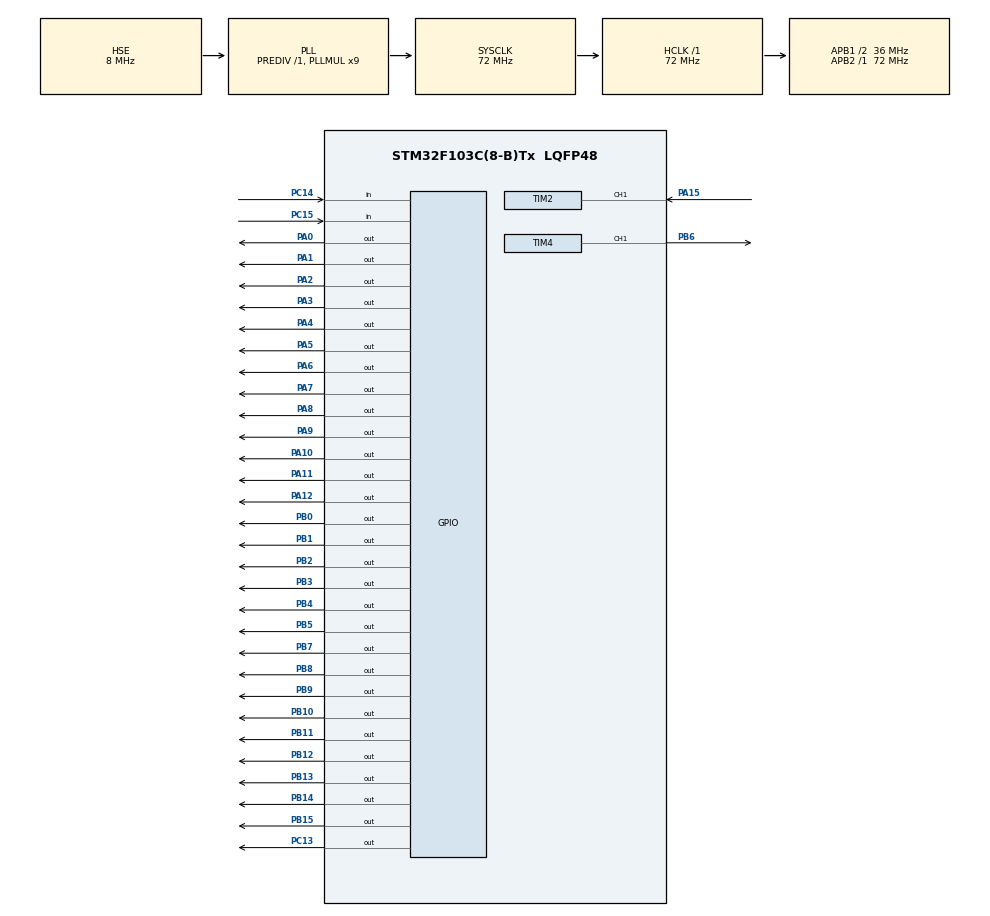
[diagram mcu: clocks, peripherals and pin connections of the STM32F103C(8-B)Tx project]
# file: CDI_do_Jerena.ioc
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Mcu.Family=STM32F1
Mcu.Name=STM32F103C(8-B)Tx
Mcu.Package=LQFP48
NVIC.FLASH_IRQn=true\:0\:0\:false\:false\:true\:true\:true
NVIC.PVD_IRQn=true\:0\:0\:false\:false\:true\:true\:true
NVIC.PriorityGroup=NVIC_PRIORITYGROUP_4
NVIC.RCC_IRQn=true\:0\:0\:false\:false\:true\:true\:false
NVIC.TIM2_IRQn=true\:0\:0\:false\:false\:true\:true\:true
NVIC.TIM3_IRQn=true\:0\:0\:false\:false\:true\:true\:true
NVIC.TIM4_IRQn=true\:0\:0\:false\:false\:true\:true\:true
PA0-WKUP.Signal=GPIO_Output
PA1.Signal=GPIO_Output
PA10.Signal=GPIO_Output
PA11.Signal=GPIO_Output
PA12.Signal=GPIO_Output
PA13.Mode=Serial_Wire
PA13.Signal=SYS_JTMS-SWDIO
PA14.Mode=Serial_Wire
PA14.Signal=SYS_JTCK-SWCLK
PA15.Signal=S_TIM2_CH1_ETR
PA2.GPIO_Speed=GPIO_SPEED_FREQ_HIGH
PA2.Signal=GPIO_Output
PA3.Signal=GPIO_Output
PA4.Signal=GPIO_Output
PA5.Signal=GPIO_Output
PA6.GPIO_Speed=GPIO_SPEED_FREQ_HIGH
PA6.Signal=GPIO_Output
PA7.Signal=GPIO_Output
PA8.Signal=GPIO_Output
PA9.Signal=GPIO_Output
PB0.GPIO_Speed=GPIO_SPEED_FREQ_HIGH
PB0.Signal=GPIO_Output
PB1.GPIO_ModeDefaultOutputPP=GPIO_MODE_OUTPUT_PP
PB1.GPIO_PuPd=GPIO_NOPULL
PB1.GPIO_Speed=GPIO_SPEED_FREQ_HIGH
PB1.Signal=GPIO_Output
PB10.Signal=GPIO_Output
PB11.Signal=GPIO_Output
PB12.Signal=GPIO_Output
PB13.Signal=GPIO_Output
PB14.Signal=GPIO_Output
PB15.Signal=GPIO_Output
PB2.Signal=GPIO_Output
PB3.Signal=GPIO_Output
PB4.Signal=GPIO_Output
PB5.Signal=GPIO_Output
PB6.Signal=S_TIM4_CH1
PB7.Signal=GPIO_Output
PB8.Signal=GPIO_Output
PB9.Signal=GPIO_Output
PC13-TAMPER-RTC.GPIO_ModeDefaultOutputPP=GPIO_MODE_OUTPUT_PP
PC13-TAMPER-RTC.GPIO_PuPd=GPIO_NOPULL
PC13-TAMPER-RTC.GPIO_Speed=GPIO_SPEED_FREQ_HIGH
PC13-TAMPER-RTC.PinState=GPIO_PIN_RESET
PC13-TAMPER-RTC.Signal=GPIO_Output
PC14-OSC32_IN.Signal=GPIO_Input
PC15-OSC32_OUT.Signal=GPIO_Input
PD0-OSC_IN.Mode=HSE-External-Oscillator
PD0-OSC_IN.Signal=RCC_OSC_IN
PD1-OSC_OUT.Mode=HSE-External-Oscillator
PD1-OSC_OUT.Signal=RCC_OSC_OUT
ProjectManager.HeapSize=0x200
ProjectManager.StackSize=0x400
ProjectManager.TargetToolchain=MDK-ARM V5.27
RCC.ADCPresc=RCC_ADCPCLK2_DIV6
RCC.AHBFreq_Value=72000000
RCC.APB1CLKDivider=RCC_HCLK_DIV2
RCC.APB1Freq_Value=36000000
RCC.APB1TimFreq_Value=72000000
RCC.APB2Freq_Value=72000000
RCC.APB2TimFreq_Value=72000000
RCC.HCLKFreq_Value=72000000
RCC.PLLMUL=RCC_PLL_MUL9
RCC.PLLSourceVirtual=RCC_PLLSOURCE_HSE
RCC.SYSCLKFreq_VALUE=72000000
RCC.SYSCLKSource=RCC_SYSCLKSOURCE_PLLCLK
RCC.USBFreq_Value=72000000
SH.S_TIM2_CH1_ETR.0=TIM2_CH1,Input_Capture1_from_TI1
SH.S_TIM4_CH1.0=TIM4_CH1,PWM Generation1 CH1
TIM2.Channel-Input_Capture1_from_TI1=TIM_CHANNEL_1
TIM2.ICFilter_CH1=3
TIM2.Period=65535
TIM2.Prescaler=55
TIM3.ClockDivision=TIM_CLOCKDIVISION_DIV1
TIM3.Period=65535
TIM3.Prescaler=100
TIM4.Channel-PWM\ Generation1\ CH1=TIM_CHANNEL_1
TIM4.Period=1440
TIM4.Prescaler=1
TIM4.Pulse-PWM\ Generation1\ CH1=300
VP_TIM2_VS_ClockSourceINT.Mode=Internal
VP_TIM3_VS_ClockSourceINT.Mode=Internal
board=custom

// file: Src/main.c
/* USER CODE BEGIN Header */
/**
  ******************************************************************************
  * @file           : main.c
  * @brief          : Main program body
  ******************************************************************************
  * @attention
  *
  * <h2><center>&copy; Copyright (c) 2020 STMicroelectronics.
  * All rights reserved.</center></h2>
  *
  * This software component is licensed by ST under BSD 3-Clause license,
  * the "License"; You may not use this file except in compliance with the
  * License. You may obtain a copy of the License at:
  *                        opensource.org/licenses/BSD-3-Clause
  *
  ******************************************************************************
  */
/* USER CODE END Header */

#include "main.h"

TIM_HandleTypeDef htim2;
TIM_HandleTypeDef htim3;
TIM_HandleTypeDef htim4;

/* USER CODE BEGIN PV */
#define FALSE                          0u
#define TRUE                           1u
#define Sat_Motor_Speed               12u
#define motor_period                   5u
#define TMR2_16bits                65536u
#define RPM_const               78545455u

//Global variable
enum Output_Level {OFF, ON} level;
enum Event_status {EMPTY, PROGRAMMED, DONE} status;

int8_t sim_rpm_index;

typedef struct emulation
{
	uint8_t  Activation;
	uint16_t Ton;
	uint16_t Toff;
	uint16_t Engine_Speed;
}eng_speed_emu;

eng_speed_emu Engine_Speed_Simulated[12] = {{ 1, 61473,  3135,   650},  //   650 rpm
                                            { 1, 62235, 14835,   800},  //   800 rpm
                                            { 1, 62895, 24975,  1000},  //  1000 rpm
                                            { 1, 64215, 45255,  2000},  //  2000 rpm
                                            { 1, 64655, 52015,  3000},  //  3000 rpm
                                            { 1, 64875, 55395,  4000},  //  4000 rpm
                                            { 1, 65007, 57423,  5000},  //  5000 rpm
                                            { 1, 65095, 58775,  6000},  //  6000 rpm
                                            { 1, 65158, 59741,  7000},  //  7000 rpm
                                            { 1, 65205, 60465,  8000},  //  8000 rpm
                                            { 1, 65242, 61028,  9000},  //  9000 rpm
                                            { 1, 65271, 61479, 10000}}; // 10000 rpm
typedef struct system_info
{
	uint8_t  Low_speed_detected;
	uint8_t  Cutoff_IGN;
	uint8_t  Update_calc;
  uint32_t nOverflow;
  uint32_t Rising_Edge_Counter;
	uint32_t Measured_Period;
	uint8_t  nOverflow_RE;
	uint8_t  nOverflow_FE;
	uint16_t Engine_Speed_old;
	uint16_t Engine_Speed;
	uint32_t Predicted_Period;
	uint32_t TDuty_Input_Signal;
  uint32_t TStep;
	uint8_t  nAdv;
}system_vars;

volatile system_vars scenario = {0,0,0,0,0,0,0,0,0,0,0,0,0,0};

typedef struct list
{
	uint8_t length;
	uint8_t array_sorted[12];
}sort_alg;

sort_alg sortvar = {0,{0,0,0,0,0,0,0,0,0,0,0,0}};

typedef struct Scheduler
{
	uint8_t program;
	uint32_t target_time;
}sched_var;

sched_var array_sched_var[3];

volatile uint32_t timer2 = 0;

typedef struct Motor_Control
{
	uint16_t motor_speed[30];
	uint8_t timer[30];
}motor_control_type;

motor_control_type motor_status = {{   0,    0, 1000,  450,  450,
	                                   450,  450,  450,  450,  450,
	                                   300,  150,  100,    0,    0,
	                                   750,  800,  850,  900,  950,
                                    1000, 1200, 1450, 1600, 1900,
	                                  2000, 2100, 2300, 2500, 2800},
                                    { 50,   50,    5,   50,   50,
									                    50,   50,   50,   50,   50,
									                     5,    5,    5,   50,   50,
									                    50,   50,   50,   50,   50,
									                    50,   50,   50,   50,   50,
										                  50,   50,   50,   50,   50}};

uint8_t time_elapsed;

//PID control
uint16_t MotorSpeed_Setpoint;
uint16_t MotorSpeed;
int16_t Error;
int32_t CumError;
uint8_t kpnum=1;
uint8_t kpdenum=100;
uint8_t kinum=3;
uint8_t kidenum=100;
uint16_t Pwm_out;

/* USER CODE END PV */

void SystemClock_Config(void);
static void MX_GPIO_Init(void);
static void MX_TIM2_Init(void);
static void MX_TIM3_Init(void);
static void MX_TIM4_Init(void);
/* USER CODE BEGIN PFP */

void Set_Ouput_LED(void)
{
	HAL_GPIO_TogglePin(GPIOC,GPIO_PIN_13);
}

void Set_Ouput_EngSpeedSignalEmulation(uint8_t Value)
{
	if (Value == TRUE)
	{
		HAL_GPIO_WritePin(GPIOB,GPIO_PIN_0,GPIO_PIN_SET);
	}
	else
	{
		HAL_GPIO_WritePin(GPIOB,GPIO_PIN_0,GPIO_PIN_RESET);
	}
}

void Set_Ouput_InterruptionTest(void)
{
	HAL_GPIO_TogglePin(GPIOA,GPIO_PIN_6);
}

void sort_alg_exec(void)
{
	uint8_t y=0;

	for(int j=0;j<12;j++)
	{
		if(Engine_Speed_Simulated[j].Activation==1)
		{
			sortvar.array_sorted[y] = j;
			sortvar.length++;
			y++;
		}
	}
}

void Change_Engine_Speed_Simulation(void)
{
	static uint8_t counter;

	if(counter<sortvar.length)
	{
		sim_rpm_index = sortvar.array_sorted[counter];
		counter++;
	}
	else
	{
		counter = 0;
	}
}

void Timeout(uint32_t period, void (*func)(void), sched_var var[], uint8_t pos, uint8_t *resp_var)
{
  uint32_t counter;

  counter = HAL_GetTick();

  if(var[pos].program == 0)
  {
    var[pos].target_time = counter+period;
    var[pos].program = 1;
  }

  if(counter>=var[pos].target_time)
  {
    var[pos].program = 0;
    *resp_var = TRUE;
  }
  else
  {
    *resp_var = FALSE;
  }
}

void PI_Control(void)
{
	MotorSpeed_Setpoint=2000u;
	Error=MotorSpeed_Setpoint-MotorSpeed;
  CumError+=Error;
  Pwm_out=(((kpnum*kidenum*Error)+(kinum*kpdenum*CumError))/(kpdenum*kidenum));
  /*
  if((Pwm_out>=0)&&(Pwm_out<=2800))
  {
		__HAL_TIM_SET_COMPARE(&htim4,TIM_CHANNEL_1,Pwm_out);
  }
	else
	{
		if(Pwm_out<0)
		{
			__HAL_TIM_SET_COMPARE(&htim4,TIM_CHANNEL_1,0);
		}
		else
	  {
			__HAL_TIM_SET_COMPARE(&htim4,TIM_CHANNEL_1,2800);
		}
  }
  */
}

void Task_Fast(void)
{

}

void Task_Medium(void)
{
	static uint8_t i;

	Set_Ouput_LED();

	PI_Control();

	if(time_elapsed==0)
	{
		__HAL_TIM_SET_COMPARE(&htim4, TIM_CHANNEL_1, motor_status.motor_speed[i]);
		time_elapsed=motor_status.timer[i];

		if(i<Sat_Motor_Speed)
		{
			i++;
		}
		else
		{
			i=0;
		}
  }
	else
	{
		time_elapsed--;
	}
}

void Task_Slow(void)
{
	Change_Engine_Speed_Simulation();
}

void Periodic_task(uint32_t period, void (*func)(void), sched_var var[], uint8_t pos)
{
  volatile uint32_t counter;

	counter = HAL_GetTick();

  if(var[pos].program == 0)
  {
    var[pos].target_time = counter+period;
    var[pos].program = 1;
  }

  if(counter>=var[pos].target_time)
  {
    var[pos].program = 0;
    (*func)();
  }
}

void Set_Pulse_Program(void)
{
	scenario.Measured_Period += scenario.nOverflow_RE*TMR2_16bits;
  scenario.Engine_Speed = RPM_const/scenario.Measured_Period;
	MotorSpeed = scenario.Engine_Speed;
}

/* USER CODE END PFP */

int main(void)
{

  /* MCU Configuration--------------------------------------------------------*/

  /* Reset of all peripherals, Initializes the Flash interface and the Systick. */
  HAL_Init();

  /* Configure the system clock */
  SystemClock_Config();

  /* Initialize all configured peripherals */
  MX_GPIO_Init();
  MX_TIM2_Init();
  MX_TIM3_Init();
  MX_TIM4_Init();
  /* USER CODE BEGIN 2 */

	__HAL_TIM_ENABLE_IT(&htim2, TIM_IT_UPDATE);
	HAL_TIM_IC_Start_IT(&htim2, TIM_CHANNEL_1);

	HAL_TIM_Base_Start_IT(&htim3);

	sort_alg_exec();
	Change_Engine_Speed_Simulation();

  /* USER CODE END 2 */

  /* Infinite loop */
  /* USER CODE BEGIN WHILE */
  while (1)
  {
		if (scenario.Update_calc == 1)
	  {
			Set_Pulse_Program();
			scenario.Update_calc = 0;
		}

    //Scheduler
		Periodic_task(20,&Task_Fast, array_sched_var, 0);
		Periodic_task(100,&Task_Medium, array_sched_var, 1);
		Periodic_task(1000,&Task_Slow, array_sched_var, 2);

    /* USER CODE END WHILE */

  }
}

void SystemClock_Config(void)
{
  RCC_OscInitTypeDef RCC_OscInitStruct = {0};
  RCC_ClkInitTypeDef RCC_ClkInitStruct = {0};

  /** Initializes the CPU, AHB and APB busses clocks
  */
  RCC_OscInitStruct.OscillatorType = RCC_OSCILLATORTYPE_HSE;
  RCC_OscInitStruct.HSEState = RCC_HSE_ON;
  RCC_OscInitStruct.HSEPredivValue = RCC_HSE_PREDIV_DIV1;
  RCC_OscInitStruct.HSIState = RCC_HSI_ON;
  RCC_OscInitStruct.PLL.PLLState = RCC_PLL_ON;
  RCC_OscInitStruct.PLL.PLLSource = RCC_PLLSOURCE_HSE;
  RCC_OscInitStruct.PLL.PLLMUL = RCC_PLL_MUL9;
  if (HAL_RCC_OscConfig(&RCC_OscInitStruct) != HAL_OK)
  {
    Error_Handler();
  }
  /** Initializes the CPU, AHB and APB busses clocks
  */
  RCC_ClkInitStruct.ClockType = RCC_CLOCKTYPE_HCLK|RCC_CLOCKTYPE_SYSCLK
                              |RCC_CLOCKTYPE_PCLK1|RCC_CLOCKTYPE_PCLK2;
  RCC_ClkInitStruct.SYSCLKSource = RCC_SYSCLKSOURCE_PLLCLK;
  RCC_ClkInitStruct.AHBCLKDivider = RCC_SYSCLK_DIV1;
  RCC_ClkInitStruct.APB1CLKDivider = RCC_HCLK_DIV2;
  RCC_ClkInitStruct.APB2CLKDivider = RCC_HCLK_DIV1;

  if (HAL_RCC_ClockConfig(&RCC_ClkInitStruct, FLASH_LATENCY_2) != HAL_OK)
  {
    Error_Handler();
  }
}

static void MX_TIM2_Init(void)
{

  TIM_ClockConfigTypeDef sClockSourceConfig = {0};
  TIM_MasterConfigTypeDef sMasterConfig = {0};
  TIM_IC_InitTypeDef sConfigIC = {0};

  htim2.Instance = TIM2;
  htim2.Init.Prescaler = 55;
  htim2.Init.CounterMode = TIM_COUNTERMODE_UP;
  htim2.Init.Period = 65535;
  htim2.Init.ClockDivision = TIM_CLOCKDIVISION_DIV1;
  htim2.Init.AutoReloadPreload = TIM_AUTORELOAD_PRELOAD_DISABLE;
  if (HAL_TIM_Base_Init(&htim2) != HAL_OK)
  {
    Error_Handler();
  }
  sClockSourceConfig.ClockSource = TIM_CLOCKSOURCE_INTERNAL;
  if (HAL_TIM_ConfigClockSource(&htim2, &sClockSourceConfig) != HAL_OK)
  {
    Error_Handler();
  }
  if (HAL_TIM_IC_Init(&htim2) != HAL_OK)
  {
    Error_Handler();
  }
  sMasterConfig.MasterOutputTrigger = TIM_TRGO_RESET;
  sMasterConfig.MasterSlaveMode = TIM_MASTERSLAVEMODE_DISABLE;
  if (HAL_TIMEx_MasterConfigSynchronization(&htim2, &sMasterConfig) != HAL_OK)
  {
    Error_Handler();
  }
  sConfigIC.ICPolarity = TIM_INPUTCHANNELPOLARITY_RISING;
  sConfigIC.ICSelection = TIM_ICSELECTION_DIRECTTI;
  sConfigIC.ICPrescaler = TIM_ICPSC_DIV1;
  sConfigIC.ICFilter = 3;
  if (HAL_TIM_IC_ConfigChannel(&htim2, &sConfigIC, TIM_CHANNEL_1) != HAL_OK)
  {
    Error_Handler();
  }

}

static void MX_TIM3_Init(void)
{

  TIM_ClockConfigTypeDef sClockSourceConfig = {0};
  TIM_MasterConfigTypeDef sMasterConfig = {0};

  htim3.Instance = TIM3;
  htim3.Init.Prescaler = 100;
  htim3.Init.CounterMode = TIM_COUNTERMODE_UP;
  htim3.Init.Period = 65535;
  htim3.Init.ClockDivision = TIM_CLOCKDIVISION_DIV1;
  htim3.Init.AutoReloadPreload = TIM_AUTORELOAD_PRELOAD_DISABLE;
  if (HAL_TIM_Base_Init(&htim3) != HAL_OK)
  {
    Error_Handler();
  }
  sClockSourceConfig.ClockSource = TIM_CLOCKSOURCE_INTERNAL;
  if (HAL_TIM_ConfigClockSource(&htim3, &sClockSourceConfig) != HAL_OK)
  {
    Error_Handler();
  }
  sMasterConfig.MasterOutputTrigger = TIM_TRGO_RESET;
  sMasterConfig.MasterSlaveMode = TIM_MASTERSLAVEMODE_DISABLE;
  if (HAL_TIMEx_MasterConfigSynchronization(&htim3, &sMasterConfig) != HAL_OK)
  {
    Error_Handler();
  }

}

static void MX_TIM4_Init(void)
{

  TIM_MasterConfigTypeDef sMasterConfig = {0};
  TIM_OC_InitTypeDef sConfigOC = {0};

  htim4.Instance = TIM4;
  htim4.Init.Prescaler = 1;
  htim4.Init.CounterMode = TIM_COUNTERMODE_UP;
  htim4.Init.Period = 1440;
  htim4.Init.ClockDivision = TIM_CLOCKDIVISION_DIV1;
  htim4.Init.AutoReloadPreload = TIM_AUTORELOAD_PRELOAD_DISABLE;
  if (HAL_TIM_PWM_Init(&htim4) != HAL_OK)
  {
    Error_Handler();
  }
  sMasterConfig.MasterOutputTrigger = TIM_TRGO_RESET;
  sMasterConfig.MasterSlaveMode = TIM_MASTERSLAVEMODE_DISABLE;
  if (HAL_TIMEx_MasterConfigSynchronization(&htim4, &sMasterConfig) != HAL_OK)
  {
    Error_Handler();
  }
  sConfigOC.OCMode = TIM_OCMODE_PWM1;
  sConfigOC.Pulse = 300;
  sConfigOC.OCPolarity = TIM_OCPOLARITY_HIGH;
  sConfigOC.OCFastMode = TIM_OCFAST_DISABLE;
  if (HAL_TIM_PWM_ConfigChannel(&htim4, &sConfigOC, TIM_CHANNEL_1) != HAL_OK)
  {
    Error_Handler();
  }
  /* USER CODE BEGIN TIM4_Init 2 */
  HAL_TIM_PWM_Start(&htim4, TIM_CHANNEL_1);
  /* USER CODE END TIM4_Init 2 */
  HAL_TIM_MspPostInit(&htim4);

}

static void MX_GPIO_Init(void)
{
  GPIO_InitTypeDef GPIO_InitStruct = {0};

  /* GPIO Ports Clock Enable */
  __HAL_RCC_GPIOC_CLK_ENABLE();
  __HAL_RCC_GPIOD_CLK_ENABLE();
  __HAL_RCC_GPIOA_CLK_ENABLE();
  __HAL_RCC_GPIOB_CLK_ENABLE();

  /*Configure GPIO pin Output Level */
  HAL_GPIO_WritePin(GPIOC, GPIO_PIN_13, GPIO_PIN_RESET);

  /*Configure GPIO pin Output Level */
  HAL_GPIO_WritePin(GPIOA, GPIO_PIN_0|GPIO_PIN_1|GPIO_PIN_2|GPIO_PIN_3
                          |GPIO_PIN_4|GPIO_PIN_5|GPIO_PIN_6|GPIO_PIN_7
                          |GPIO_PIN_8|GPIO_PIN_9|GPIO_PIN_10|GPIO_PIN_11
                          |GPIO_PIN_12, GPIO_PIN_RESET);

  /*Configure GPIO pin Output Level */
  HAL_GPIO_WritePin(GPIOB, GPIO_PIN_0|GPIO_PIN_1|GPIO_PIN_2|GPIO_PIN_10
                          |GPIO_PIN_11|GPIO_PIN_12|GPIO_PIN_13|GPIO_PIN_14
                          |GPIO_PIN_15|GPIO_PIN_3|GPIO_PIN_4|GPIO_PIN_5
                          |GPIO_PIN_7|GPIO_PIN_8|GPIO_PIN_9, GPIO_PIN_RESET);

  /*Configure GPIO pin : PC13 */
  GPIO_InitStruct.Pin = GPIO_PIN_13;
  GPIO_InitStruct.Mode = GPIO_MODE_OUTPUT_PP;
  GPIO_InitStruct.Pull = GPIO_NOPULL;
  GPIO_InitStruct.Speed = GPIO_SPEED_FREQ_HIGH;
  HAL_GPIO_Init(GPIOC, &GPIO_InitStruct);

  /*Configure GPIO pins : PC14 PC15 */
  GPIO_InitStruct.Pin = GPIO_PIN_14|GPIO_PIN_15;
  GPIO_InitStruct.Mode = GPIO_MODE_INPUT;
  GPIO_InitStruct.Pull = GPIO_NOPULL;
  HAL_GPIO_Init(GPIOC, &GPIO_InitStruct);

  /*Configure GPIO pins : PA0 PA1 PA3 PA4
                           PA5 PA7 PA8 PA9
                           PA10 PA11 PA12 */
  GPIO_InitStruct.Pin = GPIO_PIN_0|GPIO_PIN_1|GPIO_PIN_3|GPIO_PIN_4
                          |GPIO_PIN_5|GPIO_PIN_7|GPIO_PIN_8|GPIO_PIN_9
                          |GPIO_PIN_10|GPIO_PIN_11|GPIO_PIN_12;
  GPIO_InitStruct.Mode = GPIO_MODE_OUTPUT_PP;
  GPIO_InitStruct.Pull = GPIO_NOPULL;
  GPIO_InitStruct.Speed = GPIO_SPEED_FREQ_LOW;
  HAL_GPIO_Init(GPIOA, &GPIO_InitStruct);

  /*Configure GPIO pins : PA2 PA6 */
  GPIO_InitStruct.Pin = GPIO_PIN_2|GPIO_PIN_6;
  GPIO_InitStruct.Mode = GPIO_MODE_OUTPUT_PP;
  GPIO_InitStruct.Pull = GPIO_NOPULL;
  GPIO_InitStruct.Speed = GPIO_SPEED_FREQ_HIGH;
  HAL_GPIO_Init(GPIOA, &GPIO_InitStruct);

  /*Configure GPIO pins : PB0 PB1 */
  GPIO_InitStruct.Pin = GPIO_PIN_0|GPIO_PIN_1;
  GPIO_InitStruct.Mode = GPIO_MODE_OUTPUT_PP;
  GPIO_InitStruct.Pull = GPIO_NOPULL;
  GPIO_InitStruct.Speed = GPIO_SPEED_FREQ_HIGH;
  HAL_GPIO_Init(GPIOB, &GPIO_InitStruct);

  /*Configure GPIO pins : PB2 PB10 PB11 PB12
                           PB13 PB14 PB15 PB3
                           PB4 PB5 PB7 PB8
                           PB9 */
  GPIO_InitStruct.Pin = GPIO_PIN_2|GPIO_PIN_10|GPIO_PIN_11|GPIO_PIN_12
                          |GPIO_PIN_13|GPIO_PIN_14|GPIO_PIN_15|GPIO_PIN_3
                          |GPIO_PIN_4|GPIO_PIN_5|GPIO_PIN_7|GPIO_PIN_8
                          |GPIO_PIN_9;
  GPIO_InitStruct.Mode = GPIO_MODE_OUTPUT_PP;
  GPIO_InitStruct.Pull = GPIO_NOPULL;
  GPIO_InitStruct.Speed = GPIO_SPEED_FREQ_LOW;
  HAL_GPIO_Init(GPIOB, &GPIO_InitStruct);

}

/* USER CODE BEGIN 4 */

uint32_t pulse_phase = 1;

void HAL_TIM_PeriodElapsedCallback(TIM_HandleTypeDef *htim)
{
	if(htim->Instance == TIM2)
	{
		scenario.nOverflow++;
	}

  if(htim->Instance == TIM3)
	{
		if(Engine_Speed_Simulated[sim_rpm_index].Activation)
		{
			switch(pulse_phase)
			{
				case 1:  Set_Ouput_EngSpeedSignalEmulation(ON);
								 __HAL_TIM_SET_COUNTER(&htim3,Engine_Speed_Simulated[sim_rpm_index].Ton);
			           pulse_phase = 2;
			           break;

		  	case 2:  Set_Ouput_EngSpeedSignalEmulation(OFF);
			           __HAL_TIM_SET_COUNTER(&htim3,Engine_Speed_Simulated[sim_rpm_index].Toff);
                 pulse_phase = 1;
			           break;

			  default: break;
		  }
	  }
	}
}

void Rising_Edge_Event(void)
{
	scenario.Measured_Period = HAL_TIM_ReadCapturedValue(&htim2,TIM_CHANNEL_1);
	scenario.nOverflow_RE = scenario.nOverflow;
	__HAL_TIM_SET_COUNTER(&htim2,0u);
	scenario.nOverflow = 0;
	scenario.Rising_Edge_Counter++;

	if (scenario.Rising_Edge_Counter>=2)
	{
		scenario.Update_calc = 1;        //set zero after Engine Stop was detected
	}
}

void HAL_TIM_IC_CaptureCallback(TIM_HandleTypeDef *htim)
{
	if((htim->Instance == TIM2)&&
	   (htim->Channel == HAL_TIM_ACTIVE_CHANNEL_1))
	{
		Rising_Edge_Event();
	}
}

/* USER CODE END 4 */

void Error_Handler(void)
{
}

/************************ (C) COPYRIGHT STMicroelectronics *****END OF FILE****/
